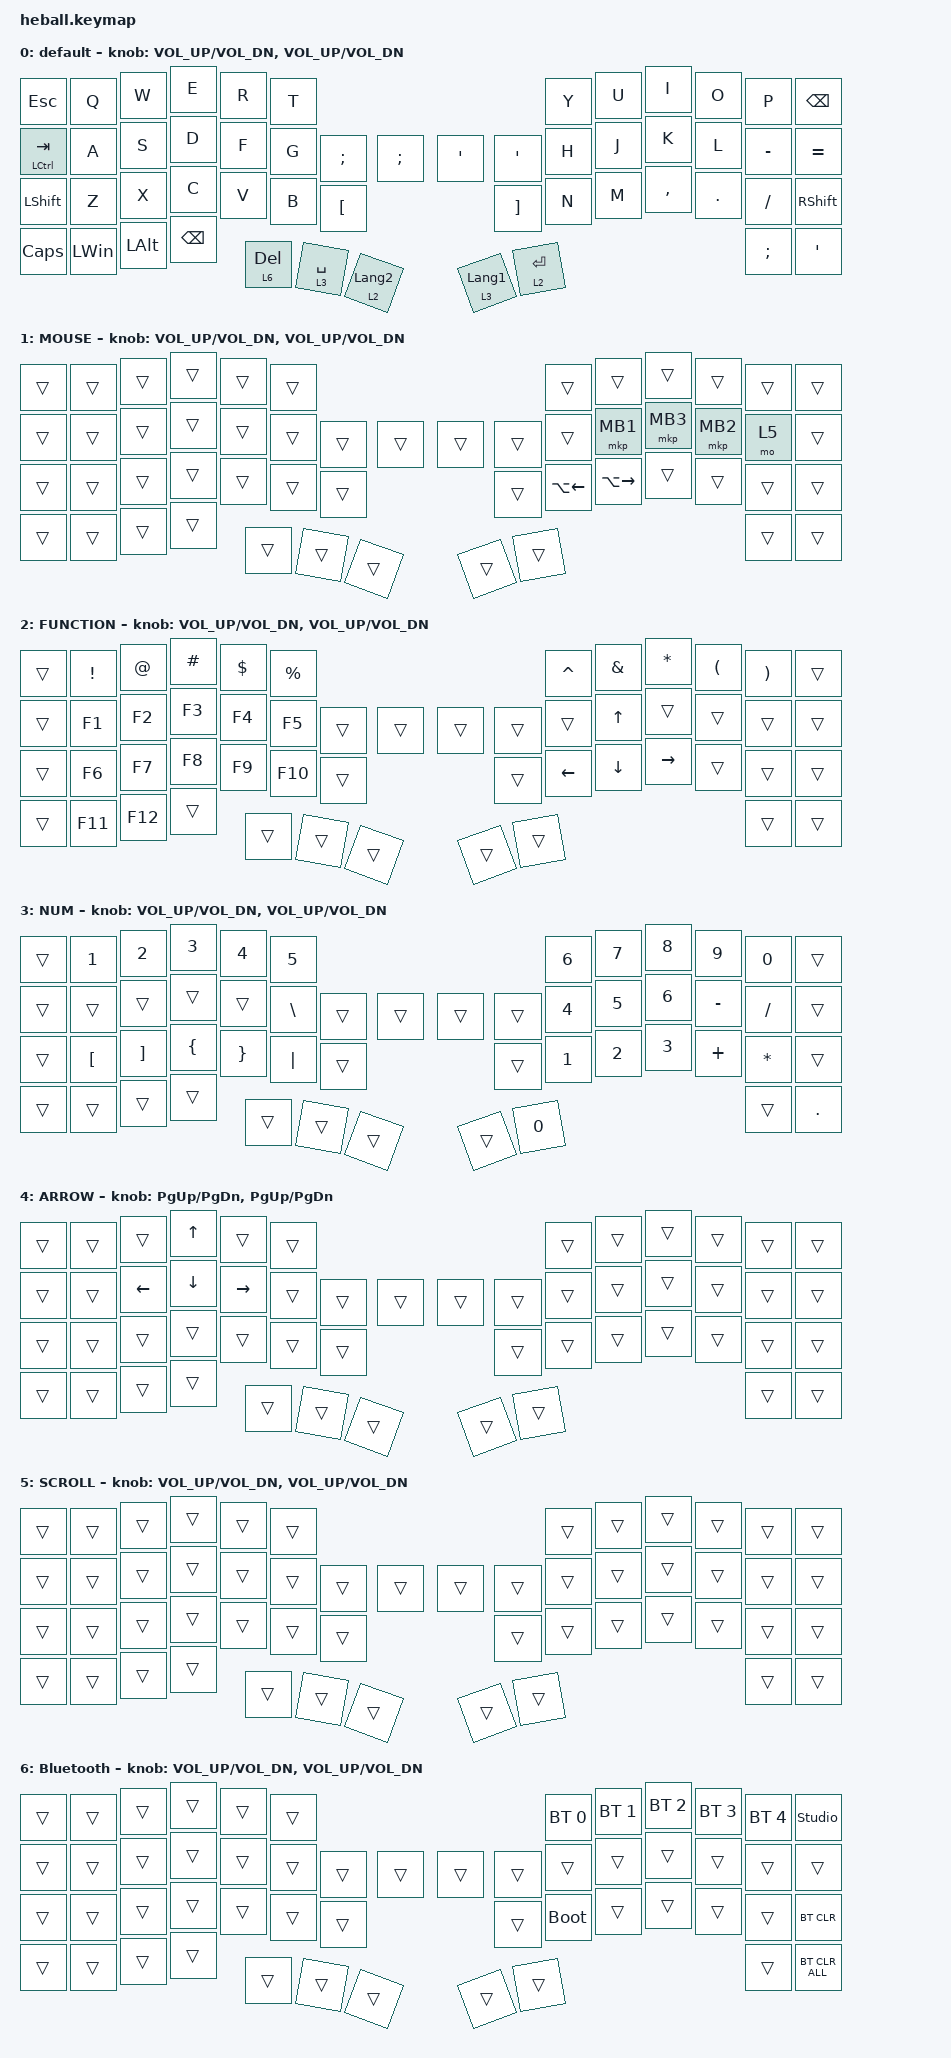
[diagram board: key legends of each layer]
#include <behaviors.dtsi>
#include <dt-bindings/zmk/bt.h>
#include <dt-bindings/zmk/keys.h>
#include <dt-bindings/zmk/outputs.h>
#include <dt-bindings/zmk/pointing.h>

&mt {
    flavor = "balanced";
    quick-tap-ms = <0>;
};

/ {
    combos {
        compatible = "zmk,combos";

        tab {
            bindings = <&kp TAB>;
            key-positions = <11 12>;
        };

        shift_tab {
            bindings = <&kp LS(TAB)>;
            key-positions = <34 35>;
        };

        muhennkann {
            bindings = <&to_layer_0 INT_MUHENKAN>;
            key-positions = <10 11>;
        };

        double_quotation {
            bindings = <&kp DOUBLE_QUOTES>;
            key-positions = <36 37>;
        };

        eq {
            bindings = <&kp EQUAL>;
            key-positions = <17 18>;
        };

        /* デバッグ用スリープコンボ: CAPSLOCK+WIN+ALT (左手bot 20+21+22) */
        soft_off_combo {
            bindings = <&soft_off>;
            key-positions = <20 21 22>;
        };
    };

    macros {
        to_layer_0: to_layer_0 {
            compatible = "zmk,behavior-macro-one-param";
            #binding-cells = <1>;
            bindings = <&to 0 &macro_param_1to1 &kp MACRO_PLACEHOLDER>;
            label = "TO_LAYER_0";
        };
    };

    behaviors {
        lt_to_layer_0: lt_to_layer_0 {
            compatible = "zmk,behavior-hold-tap";
            label = "LAYER_TAP_TO_0";
            bindings = <&mo>, <&to_layer_0>;

            #binding-cells = <2>;
            tapping-term-ms = <200>;
        };
    };

    keymap {
        compatible = "zmk,keymap";

        default {
            /*
             * 左手:
             *  top(0-5):   ESC  Q    W    E    R    T
             *  row1(6-12): LCTL A    S    D    F    G    SEMI
             *  row2(13-19):LSFT Z    X    C    V    B    BSLS
             *  bot(20-27): LGUI LALT DEL  SPC  L2   ENT  BSPC J
             * 右手:
             *  top(28-33): Y    U    I    O    P    BSPC
             *  row1(34-40):H    J    K    L    MINS EQL  SQT
             *  row2(41-47):GRV  N    M    ,    .    /    RSFT
             *  bot(48-52): L1   ENT  BSPC SEMI K
             */

            bindings = <
&kp ESCAPE  &kp Q  &kp W  &kp E  &kp R  &kp T  &mt LCTRL TAB  &kp A  &kp S  &kp D  &kp F  &kp G  &kp SEMICOLON  &kp LEFT_SHIFT  &kp Z  &kp X  &kp C  &kp V  &kp B  &kp LEFT_BRACKET  &kp CAPSLOCK  &kp LEFT_WIN  &kp LEFT_ALT  &kp BACKSPACE  &lt 6 DELETE  &lt 3 SPACE  &lt 2 LANGUAGE_2  &kp SEMICOLON  &kp Y  &kp U  &kp I  &kp O  &kp P  &kp BACKSPACE  &kp SINGLE_QUOTE  &kp H  &kp J  &kp K  &kp L  &kp MINUS  &kp EQUAL  &kp RIGHT_BRACKET  &kp N  &kp M  &kp COMMA  &kp DOT  &kp SLASH  &kp RIGHT_SHIFT  &lt 3 LANGUAGE_1  &lt 2 ENTER  &kp SEMICOLON  &kp SINGLE_QUOTE  &kp SINGLE_QUOTE
            >;

            sensor-bindings = <&inc_dec_kp C_VOL_UP C_VOL_DN &inc_dec_kp C_VOL_UP C_VOL_DN>;
        };

        MOUSE {
            bindings = <
&trans  &trans  &trans  &trans  &trans  &trans  &trans  &trans  &trans  &trans  &trans  &trans  &trans  &trans  &trans  &trans  &trans  &trans  &trans  &trans  &trans  &trans  &trans  &trans  &trans  &trans  &trans  &trans  &trans  &trans  &trans  &trans  &trans  &trans  &trans  &trans  &mkp MB1  &mkp MB3  &mkp MB2  &mo 5  &trans  &trans  &kp LA(LEFT_ARROW)  &kp LA(RIGHT_ARROW)  &trans  &trans  &trans  &trans  &trans  &trans  &trans  &trans  &trans
            >;

            sensor-bindings = <&inc_dec_kp C_VOL_UP C_VOL_DN &inc_dec_kp C_VOL_UP C_VOL_DN>;
        };

        FUNCTION {
            bindings = <
&trans  &kp EXCLAMATION  &kp AT_SIGN  &kp HASH  &kp DOLLAR  &kp PERCENT  &trans  &kp F1  &kp F2  &kp F3  &kp F4  &kp F5  &trans  &trans  &kp F6  &kp F7  &kp F8  &kp F9  &kp F10  &trans  &trans  &kp F11  &kp F12  &trans  &trans  &trans  &trans  &trans  &kp CARET  &kp AMPERSAND  &kp ASTERISK  &kp LEFT_PARENTHESIS  &kp RIGHT_PARENTHESIS  &trans  &trans  &trans  &kp UP_ARROW  &trans  &trans  &trans  &trans  &trans  &kp LEFT_ARROW  &kp DOWN_ARROW  &kp RIGHT_ARROW  &trans  &trans  &trans  &trans  &trans  &trans  &trans  &trans
            >;

            sensor-bindings = <&inc_dec_kp C_VOL_UP C_VOL_DN &inc_dec_kp C_VOL_UP C_VOL_DN>;
        };

        NUM {
            bindings = <
&trans  &kp N1  &kp N2  &kp N3  &kp N4  &kp N5  &trans  &trans  &trans  &trans  &trans  &kp BACKSLASH  &trans  &trans  &kp LEFT_BRACKET  &kp RIGHT_BRACKET  &kp LEFT_BRACE  &kp RIGHT_BRACE  &kp PIPE  &trans  &trans  &trans  &trans  &trans  &trans  &trans  &trans  &trans  &kp N6  &kp N7  &kp N8  &kp N9  &kp N0  &trans  &trans  &kp NUMBER_4  &kp NUMBER_5  &kp NUMBER_6  &kp MINUS  &kp SLASH  &trans  &trans  &kp NUMBER_1  &kp NUMBER_2  &kp NUMBER_3  &kp PLUS  &kp ASTERISK  &trans  &trans  &kp NUMBER_0  &trans  &kp PERIOD  &trans
            >;

            sensor-bindings = <&inc_dec_kp C_VOL_UP C_VOL_DN &inc_dec_kp C_VOL_UP C_VOL_DN>;
        };

        ARROW {
            bindings = <
&trans  &trans  &trans  &kp UP  &trans  &trans  &trans  &trans  &kp LEFT  &kp DOWN  &kp RIGHT  &trans  &trans  &trans  &trans  &trans  &trans  &trans  &trans  &trans  &trans  &trans  &trans  &trans  &trans  &trans  &trans  &trans  &trans  &trans  &trans  &trans  &trans  &trans  &trans  &trans  &trans  &trans  &trans  &trans  &trans  &trans  &trans  &trans  &trans  &trans  &trans  &trans  &trans  &trans  &trans  &trans  &trans
            >;

            sensor-bindings = <&inc_dec_kp PG_UP PAGE_DOWN &inc_dec_kp PG_UP PAGE_DOWN>;
        };

        SCROLL {
            bindings = <
&trans  &trans  &trans  &trans  &trans  &trans  &trans  &trans  &trans  &trans  &trans  &trans  &trans  &trans  &trans  &trans  &trans  &trans  &trans  &trans  &trans  &trans  &trans  &trans  &trans  &trans  &trans  &trans  &trans  &trans  &trans  &trans  &trans  &trans  &trans  &trans  &trans  &trans  &trans  &trans  &trans  &trans  &trans  &trans  &trans  &trans  &trans  &trans  &trans  &trans  &trans  &trans  &trans
            >;

            sensor-bindings = <&inc_dec_kp C_VOL_UP C_VOL_DN &inc_dec_kp C_VOL_UP C_VOL_DN>;
        };

        Bluetooth {
            bindings = <
&trans  &trans  &trans  &trans  &trans  &trans  &trans  &trans  &trans  &trans  &trans  &trans  &trans  &trans  &trans  &trans  &trans  &trans  &trans  &trans  &trans  &trans  &trans  &trans  &trans  &trans  &trans  &trans  &bt BT_SEL 0  &bt BT_SEL 1  &bt BT_SEL 2  &bt BT_SEL 3  &bt BT_SEL 4  &studio_unlock  &trans  &trans  &trans  &trans  &trans  &trans  &trans  &trans  &bootloader  &trans  &trans  &trans  &trans  &bt BT_CLR  &trans  &trans  &trans  &bt BT_CLR_ALL  &trans
            >;

            sensor-bindings = <&inc_dec_kp C_VOL_UP C_VOL_DN &inc_dec_kp C_VOL_UP C_VOL_DN>;
        };
    };
};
